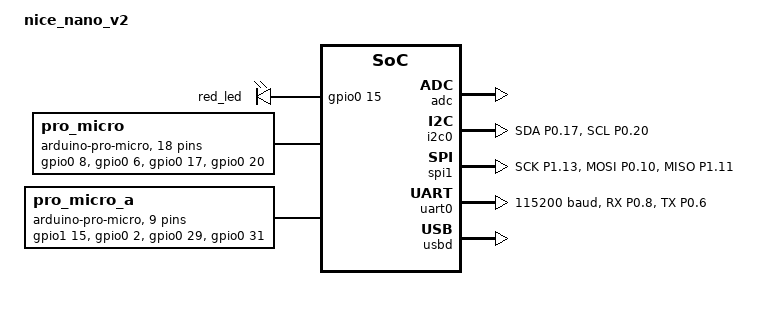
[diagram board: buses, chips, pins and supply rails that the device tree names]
/ {
    model = "nice_nano_v2";
     compatible = "knockoff,nice_nano_v2";
 
     chosen {
         zephyr,code-partition = &code_partition;
         zephyr,sram = &sram0;
         zephyr,flash = &flash0;
         zephyr,console = &cdc_acm_uart0;
         zephyr,shell-uart = &cdc_acm_uart0;
     };
 
     leds {
         compatible = "gpio-leds";
         red_led: led_0 {
             gpios = <&gpio0 15 GPIO_ACTIVE_HIGH>;
         };
     };

    pro_micro: connector {
        compatible = "arduino-pro-micro";
        #gpio-cells = <2>;
        gpio-map-mask = <0xffffffff 0xffffffc0>;
        gpio-map-pass-thru = <0 0x3f>;
        gpio-map
            = <0 0 &gpio0 8 0>      /* D0 */
            , <1 0 &gpio0 6 0>      /* D1 */
            , <2 0 &gpio0 17 0>     /* D2 */
            , <3 0 &gpio0 20 0>     /* D3 */
            , <4 0 &gpio0 22 0>     /* D4/A6 */
            , <5 0 &gpio0 24 0>     /* D5 */
            , <6 0 &gpio1 0 0>      /* D6/A7 */
            , <7 0 &gpio0 11 0>     /* D7 */
            , <8 0 &gpio1 4 0>      /* D8/A8 */
            , <9 0 &gpio1 6 0>      /* D9/A9 */
            , <10 0 &gpio0 9 0>     /* D10/A10 */
            , <16 0 &gpio0 10 0>    /* D16 */
            , <14 0 &gpio1 11 0>    /* D14 */
            , <15 0 &gpio1 13 0>    /* D15 */
            , <18 0 &gpio1 15 0>    /* D18/A0 */
            , <19 0 &gpio0 2 0>     /* D19/A1 */
            , <20 0 &gpio0 29 0>    /* D20/A2 */
            , <21 0 &gpio0 31 0>    /* D21/A3 */
            ;
    };

    pro_micro_a: connector_a {
        compatible = "arduino-pro-micro";
        #gpio-cells = <2>;
        gpio-map-mask = <0xffffffff 0xffffffc0>;
        gpio-map-pass-thru = <0 0x3f>;
        gpio-map
            = <0 0 &gpio1 15 0> /* D18/A0 */
            , <1 0 &gpio0 2 0>  /* D19/A1 */
            , <2 0 &gpio0 29 0> /* D20/A2 */
            , <3 0 &gpio0 31 0> /* D21/A3 */
            , <6 0 &gpio0 22 0> /* D4/A6 */
            , <7 0 &gpio1 0 0>  /* D6/A7 */
            , <8 0 &gpio1 4 0>  /* D8/A8 */
            , <9 0 &gpio1 6 0>  /* D9/A9 */
            , <10 0 &gpio0 9 0> /* D10/A10 */
            ;
    };
};

&adc {
    status = "okay";
};

&gpiote {
    status = "okay";
};

&gpio0 {
    status = "okay";
};

&gpio1 {
    status = "okay";
};

&i2c0 {
    compatible = "nordic,nrf-twi";
    pinctrl-0 = <&i2c0_default>;
    pinctrl-1 = <&i2c0_sleep>;
    pinctrl-names = "default", "sleep";
};

&spi1 {
    compatible = "nordic,nrf-spim";
    pinctrl-0 = <&spi1_default>;
    pinctrl-1 = <&spi1_sleep>;
    pinctrl-names = "default", "sleep";
};

&uart0 {
    status = "okay";
    compatible = "nordic,nrf-uarte";
    current-speed = <115200>;
    pinctrl-0 = <&uart0_default>;
    pinctrl-1 = <&uart0_sleep>;
    pinctrl-names = "default", "sleep";
};

zephyr_udc0: &usbd {
    status = "okay";
};


&flash0 {
    /*
     * For more information, see:
     * http://docs.zephyrproject.org/latest/devices/dts/flash_partitions.html
     */
    partitions {
        compatible = "fixed-partitions";
        #address-cells = <1>;
        #size-cells = <1>;

        sd_partition: partition@0 {
            reg = <0x00000000 0x00026000>;
        };
        code_partition: partition@26000 {
            reg = <0x00026000 0x000c6000>;
        };

        /*
         * The flash starting at 0x000ec000 and ending at
         * 0x000f3fff is reserved for use by the application.
         */

        /*
         * Storage partition will be used by FCB/LittleFS/NVS
         * if enabled.
         */
        storage_partition: partition@ec000 {
            reg = <0x000ec000 0x00008000>;
        };

        boot_partition: partition@f4000 {
            reg = <0x000f4000 0x0000c000>;
        };
    };
};

zephyr_udc0: &usbd {
   compatible = "nordic,nrf-usbd";
   status = "okay";
   cdc_acm_uart0: cdc_acm_uart0 {
       compatible = "zephyr,cdc-acm-uart";
       label = "CDC_ACM_0";
   };
};

&pinctrl {
    uart0_default: uart0_default {
        group1 {
            psels = <NRF_PSEL(UART_RX, 0, 8)>;
            bias-pull-up;
        };
        group2 {
            psels = <NRF_PSEL(UART_TX, 0, 6)>;
        };
    };

    uart0_sleep: uart0_sleep {
        group1 {
            psels = <NRF_PSEL(UART_RX, 0, 8)>,
                <NRF_PSEL(UART_TX, 0, 6)>;
            low-power-enable;
        };
    };

    i2c0_default: i2c0_default {
        group1 {
            psels = <NRF_PSEL(TWIM_SDA, 0, 17)>,
                <NRF_PSEL(TWIM_SCL, 0, 20)>;
        };
    };

    i2c0_sleep: i2c0_sleep {
        group1 {
            psels = <NRF_PSEL(TWIM_SDA, 0, 17)>,
                <NRF_PSEL(TWIM_SCL, 0, 20)>;
            low-power-enable;
        };
    };

    spi1_default: spi1_default {
        group1 {
            psels = <NRF_PSEL(SPIM_SCK, 1, 13)>,
                <NRF_PSEL(SPIM_MOSI, 0, 10)>,
                <NRF_PSEL(SPIM_MISO, 1, 11)>;
        };
    };

    spi1_sleep: spi1_sleep {
        group1 {
            psels = <NRF_PSEL(SPIM_SCK, 1, 13)>,
                <NRF_PSEL(SPIM_MOSI, 0, 10)>,
                <NRF_PSEL(SPIM_MISO, 1, 11)>;
            low-power-enable;
        };
    };
};


pro_micro_d: &pro_micro {};
pro_micro_i2c: &i2c0 {};
pro_micro_spi: &spi1 {};
pro_micro_serial: &uart0 {};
